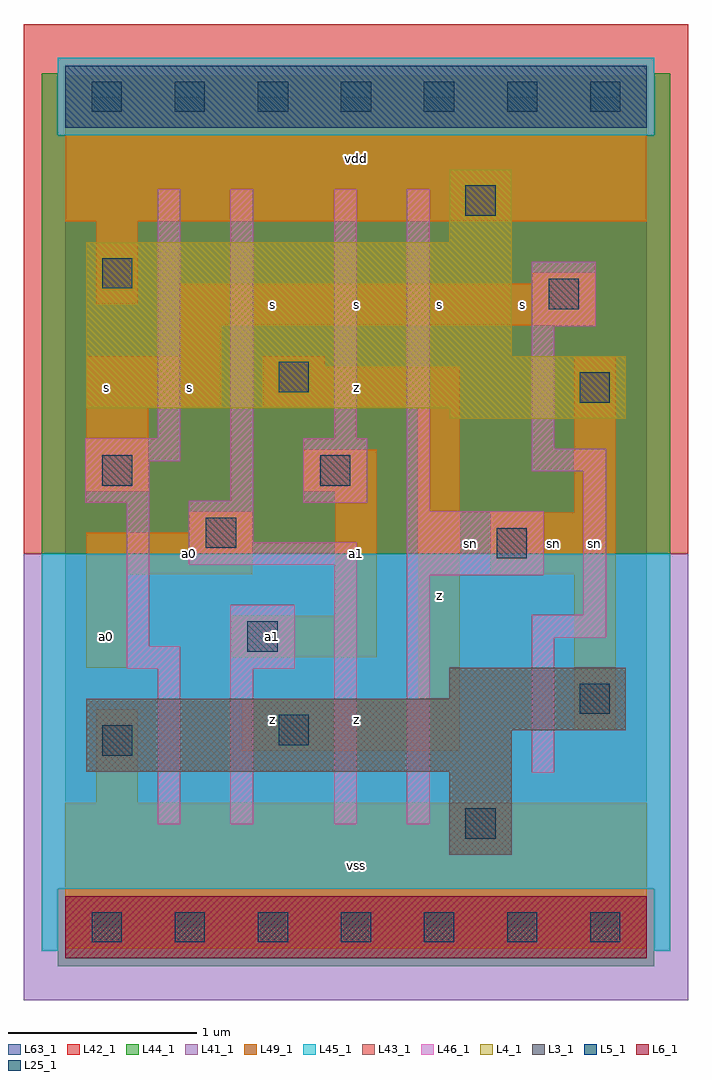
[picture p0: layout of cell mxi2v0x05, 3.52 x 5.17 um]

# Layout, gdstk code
import gdstk
lib = gdstk.Library(unit=1e-6, precision=1e-09)
def R(c, l, rs):  # rectangles x0, y0, x1, y1
    for r in rs: c.add(gdstk.rectangle(r[:2], r[2:], *l))
def A(c, l, x, y, w, h, nx, ny, dx, dy):  # array of equal rectangles
    R(c, l, [(x+i*dx, y+j*dy, x+i*dx+w, y+j*dy+h) for i in range(nx) for j in range(ny)])
L3_1 = (3, 1)
L4_1 = (4, 1)
L5_1 = (5, 1)
L6_1 = (6, 1)
L25_1 = (25, 1)
L41_1 = (41, 1)
L42_1 = (42, 1)
L43_1 = (43, 1)
L44_1 = (44, 1)
L45_1 = (45, 1)
L46_1 = (46, 1)
L49_1 = (49, 1)
L63_1 = (63, 1)

mxi2v0x05 = lib.new_cell('mxi2v0x05')
R(mxi2v0x05, L3_1, [(2.035,0.385,2.365,0.825), (0.11,0.825,2.365,1.045), (0.11,1.045,2.97,1.21), (2.035,1.21,2.97,1.375)])
R(mxi2v0x05, L4_1, [(2.035,2.695,2.97,2.75), (0.11,2.75,2.97,3.025), (0.11,3.025,2.365,3.63), (2.035,3.63,2.365,4.015)])
R(mxi2v0x05, L5_1, [(0,4.235,3.08,4.565)])
R(mxi2v0x05, L6_1, [(0,-0.165,3.08,0.165)])
A(mxi2v0x05, L25_1, 0.14, -0.08, 0.16, 0.16, 7, 2, 0.44, 4.4)
R(mxi2v0x05, L25_1, [(2.12,0.47,2.28,0.63), (0.195,0.91,0.355,1.07), (1.13,0.965,1.29,1.125), (2.725,1.13,2.885,1.29), (0.965,1.46,1.125,1.62), (2.285,1.955,2.445,2.115), (0.745,2.01,0.905,2.17), (0.195,2.34,0.355,2.5), (1.35,2.34,1.51,2.5), (2.725,2.78,2.885,2.94), (1.13,2.835,1.29,2.995), (2.56,3.275,2.72,3.435), (0.195,3.385,0.355,3.545), (2.12,3.77,2.28,3.93)])
R(mxi2v0x05, L41_1, [(-0.22,-0.385,3.3,1.98)])
R(mxi2v0x05, L42_1, [(-0.22,1.98,3.3,4.785)])
R(mxi2v0x05, L43_1, [(0,-0.165,3.08,0.165), (2.035,0.385,2.365,0.825), (0.11,0.825,2.365,1.045), (0.11,1.045,2.97,1.21), (2.035,1.21,2.97,1.375), (2.035,2.695,2.97,2.75), (0.11,2.75,2.97,3.025), (0.11,3.025,2.365,3.63), (2.035,3.63,2.365,4.015), (0,4.235,3.08,4.565)])
R(mxi2v0x05, L44_1, [(-0.04,-0.205,3.12,0.205), (-0.125,1.98,3.205,4.195), (-0.125,4.195,-0.04,4.525), (3.12,4.195,3.205,4.525)])
R(mxi2v0x05, L45_1, [(-0.125,-0.125,-0.04,0.205), (3.12,-0.125,3.205,0.205), (-0.125,0.205,3.205,1.98), (-0.04,4.195,3.12,4.605)])
R(mxi2v0x05, L46_1, [(0.49,0.545,0.61,1.37), (0.875,0.545,0.995,1.37), (1.425,0.545,1.545,1.92), (1.81,0.545,1.93,1.865), (2.47,0.82,2.59,1.535), (0.325,1.37,0.61,1.49), (0.875,1.37,1.215,1.71), (0.325,1.49,0.445,2.25), (2.47,1.535,2.865,1.655), (2.745,1.655,2.865,2.415), (1.81,1.865,2.535,2.205), (0.655,1.92,1.545,2.04), (0.655,2.04,0.995,2.26), (1.81,2.205,1.93,3.91), (0.105,2.25,0.445,2.47), (1.26,2.25,1.6,2.59), (0.875,2.26,0.995,3.91), (2.47,2.415,2.865,2.535), (0.105,2.47,0.61,2.59), (2.47,2.535,2.59,3.185), (0.49,2.59,0.61,3.91), (1.425,2.59,1.545,3.91), (2.47,3.185,2.81,3.525)])
R(mxi2v0x05, L49_1, [(0,-0.11,3.08,0.66), (0.165,0.66,0.385,1.155), (0.935,0.935,2.09,1.21), (2.695,1.045,2.915,1.87), (1.87,1.21,2.09,2.75), (0.11,1.375,0.33,1.87), (0.88,1.43,1.65,1.65), (1.43,1.65,1.65,2.31), (0.11,1.87,0.99,2.09), (2.255,1.87,2.915,2.2), (0.66,2.09,0.99,2.2), (2.695,2.2,2.915,3.025), (0.11,2.31,0.44,2.75), (1.265,2.31,1.65,2.53), (0.11,2.75,0.825,3.025), (1.045,2.75,2.09,2.97), (1.045,2.97,1.375,3.025), (0.605,3.025,0.825,3.19), (0.605,3.19,2.805,3.41), (0.165,3.3,0.385,3.74), (2.475,3.41,2.805,3.465), (0,3.74,3.08,4.51)])
R(mxi2v0x05, L63_1, [(0,0,3.08,4.4)])
mxi2v0x05.add(gdstk.Label('sn', (2.145,2.035), layer=46, texttype=1))
mxi2v0x05.add(gdstk.Label('a0', (0.22,1.54), layer=49, texttype=1))
mxi2v0x05.add(gdstk.Label('s', (0.22,2.86), layer=49, texttype=1))
mxi2v0x05.add(gdstk.Label('a0', (0.66,1.98), layer=49, texttype=1))
mxi2v0x05.add(gdstk.Label('s', (0.66,2.86), layer=49, texttype=1))
mxi2v0x05.add(gdstk.Label('vss', (1.54,0.33), layer=49, texttype=1))
mxi2v0x05.add(gdstk.Label('a1', (1.1,1.54), layer=49, texttype=1))
mxi2v0x05.add(gdstk.Label('z', (1.1,1.1), layer=49, texttype=1))
mxi2v0x05.add(gdstk.Label('z', (1.54,1.1), layer=49, texttype=1))
mxi2v0x05.add(gdstk.Label('a1', (1.54,1.98), layer=49, texttype=1))
mxi2v0x05.add(gdstk.Label('z', (1.54,2.86), layer=49, texttype=1))
mxi2v0x05.add(gdstk.Label('s', (1.1,3.3), layer=49, texttype=1))
mxi2v0x05.add(gdstk.Label('s', (1.54,3.3), layer=49, texttype=1))
mxi2v0x05.add(gdstk.Label('vdd', (1.54,4.07), layer=49, texttype=1))
mxi2v0x05.add(gdstk.Label('z', (1.98,1.76), layer=49, texttype=1))
mxi2v0x05.add(gdstk.Label('s', (1.98,3.3), layer=49, texttype=1))
mxi2v0x05.add(gdstk.Label('s', (2.42,3.3), layer=49, texttype=1))
mxi2v0x05.add(gdstk.Label('sn', (2.585,2.035), layer=49, texttype=1))
mxi2v0x05.add(gdstk.Label('sn', (2.805,2.035), layer=49, texttype=1))

lib.write_gds('mxi2v0x05.gds')
